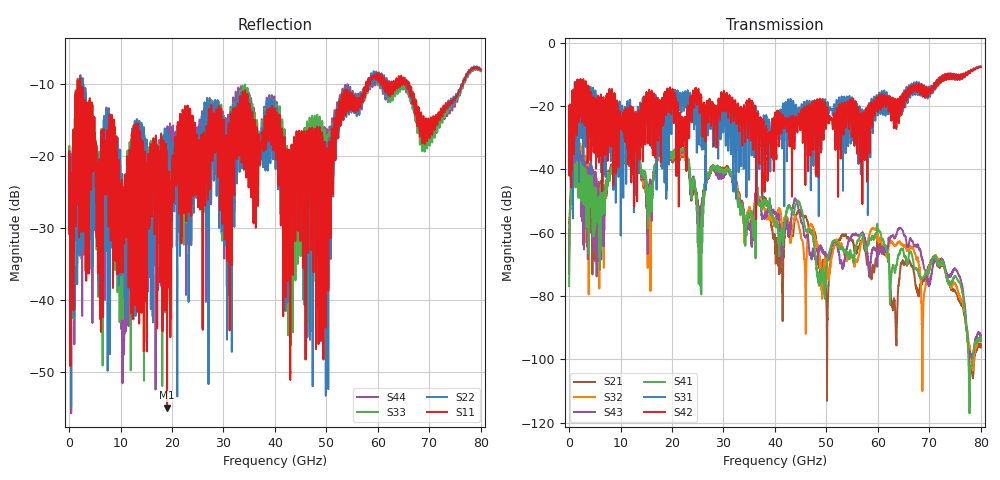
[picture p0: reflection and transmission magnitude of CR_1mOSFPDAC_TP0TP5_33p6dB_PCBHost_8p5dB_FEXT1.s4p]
!! Reference: shanbhag_3dj_01_2305.pdf
!! CHANNEL DESCRIPTION: TP0_TP5 CR Channel using 1meter DAC, PCB Host
!! MODEL DESCRIPTION: s4p, FEXT1
!! CONNECTOR DESCRIPTION: OSFP 200G SMT
!! CABLE DESCRIPTION: 1meter 26AWG Cable
!! MODEL STATUS: Developmental
!! PORT DEFINITIONS:
!! Port  1  ----->  Side A  Side B  <-----  Port  2
!! Port  3  ----->  Side A  Side B  <-----  Port  4
# HZ S MA R 50.000000
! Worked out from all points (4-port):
!   8000 points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, 10 MHz to 80 GHz, reference 50 ohm
!   strongest paths, dB at 10 MHz, 20.01 GHz, 40.01 GHz, 60.01 GHz, 80 GHz:
!     S42: -26.9, -15.3, -22.5, -21.5, -7.7
!     S31: -26.9, -16.8, -27.3, -22.9, -7.4
!     S41: -76.9, -36.4, -56.7, -59.0, -94.2
!     S43: -73.0, -36.7, -53.6, -67.5, -93.3
!     S32: -67.8, -36.8, -56.3, -61.0, -94.4
!     S21: -65.8, -37.4, -62.0, -65.0, -96.3
!   lowest |S11| = -55.0 dB at 19.04 GHz (marker M1), VSWR 1.00, Z = 50 + j0.177 ohm
!   |S11| at or under -10 dB: start of sweep to 1.671 GHz; 2.174 GHz to 57.68 GHz (55.5 GHz wide, 185 % of centre); 66.05 GHz to 76.44 GHz (10.38 GHz wide, 14.6 % of centre)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
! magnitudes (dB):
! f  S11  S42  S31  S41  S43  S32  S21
! 10 MHz  -24.3  -26.9  -26.9  -76.9  -73.0  -67.8  -65.8
! 1.31 GHz  -13.6  -14.4  -15.1  -40.7  -37.6  -35.4  -37.8
! 19.04 GHz  -55.0  -15.5  -26.2  -34.2  -34.5  -35.7  -35.9
! 25.4 GHz  -19.9  -20.9  -25.9  -65.4  -53.5  -68.5  -60.7
! 30.93 GHz  -16.1  -22.3  -34.2  -40.0  -40.6  -40.5  -39.6
! 50.14 GHz  -19.1  -20.4  -19.6  -69.3  -68.0  -71.1  -96.8
! 80 GHz  -8.0  -7.7  -7.4  -94.2  -93.3  -94.4  -96.3
